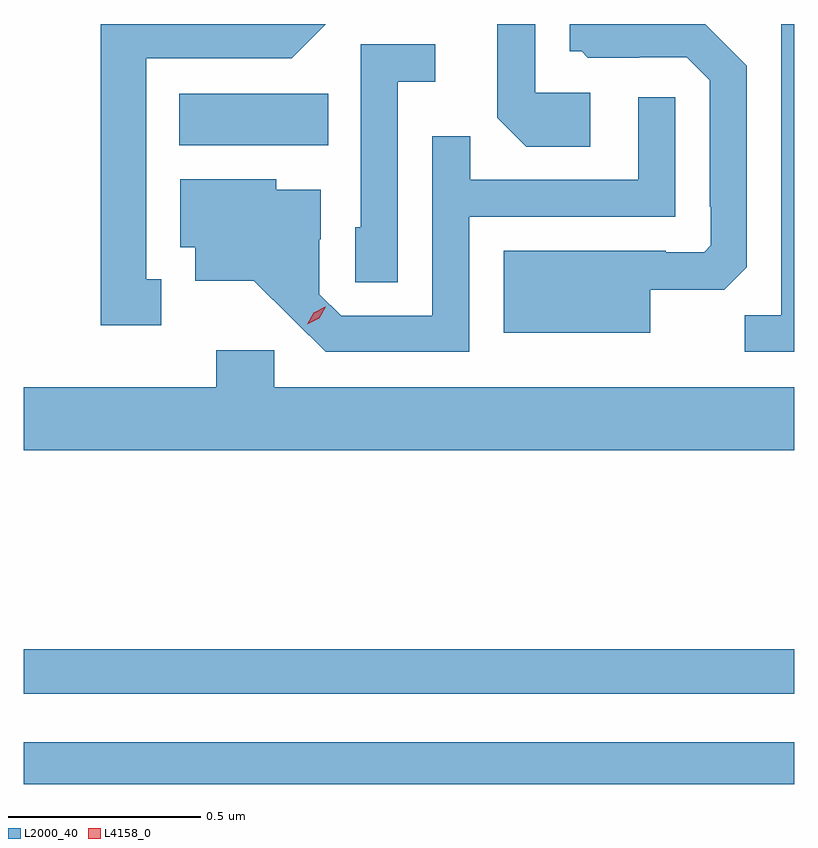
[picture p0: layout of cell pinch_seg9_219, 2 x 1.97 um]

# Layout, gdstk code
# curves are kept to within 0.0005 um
import gdstk
lib = gdstk.Library(unit=1e-6, precision=1e-09)
def R(c, l, rs):  # rectangles x0, y0, x1, y1
    for r in rs: c.add(gdstk.rectangle(r[:2], r[2:], *l))
def P(c, l, *ps):  # polygons
    for p in ps: c.add(gdstk.Polygon(p, *l))
L2000_40 = (2000, 40)
L4158_0 = (4158, 0)

pinch_seg9_219 = lib.new_cell('pinch_seg9_219')
R(pinch_seg9_219, L2000_40, [(587.404,1246.17,589.404,1246.278), (587.404,1246.404,589.404,1246.52), (587.807,1247.828,588.194,1247.962)])
P(pinch_seg9_219, L2000_40, [(589.03,1247.453),(589.222,1247.453),(589.281,1247.512),(589.281,1248.034),(589.173,1248.143),(588.821,1248.143),(588.821,1248.072),(588.852,1248.072),(588.868,1248.056),(589.002,1248.056),(589.002,1248.057),(589.125,1248.057),(589.185,1247.997),(589.185,1247.668),(589.188,1247.668),(589.188,1247.568),(589.17,1247.55),(589.07,1247.55),(589.07,1247.554),(588.65,1247.554),(588.65,1247.342),(589.03,1247.342)],
  [(587.761,1247.481),(587.722,1247.481),(587.722,1248.054),(588.099,1248.054),(588.188,1248.143),(587.604,1248.143),(587.604,1247.361),(587.761,1247.361)],
  [(588.874,1247.964),(588.732,1247.964),(588.732,1248.143),(588.633,1248.143),(588.633,1247.9),(588.709,1247.824),(588.874,1247.824)],
  [(589.404,1248.143),(589.371,1248.143),(589.371,1247.387),(589.276,1247.387),(589.276,1247.292),(589.404,1247.292)],
  [(588.375,1247.993),(588.472,1247.993),(588.472,1248.09),(588.279,1248.09),(588.279,1247.616),(588.264,1247.616),(588.264,1247.473),(588.375,1247.473)],
  [(588.561,1247.643),(589.095,1247.643),(589.095,1247.953),(588.999,1247.953),(588.999,1247.739),(588.563,1247.739),(588.563,1247.852),(588.465,1247.852),(588.465,1247.385),(588.228,1247.385),(588.171,1247.442),(588.171,1247.584),(588.175,1247.584),(588.175,1247.713),(588.06,1247.713),(588.06,1247.74),(587.81,1247.74),(587.81,1247.564),(587.849,1247.564),(587.849,1247.477),(588.001,1247.477),(588.188,1247.292),(588.561,1247.292)],
  [(589.404,1247.2),(588.054,1247.2),(588.054,1247.296),(587.903,1247.296),(587.903,1247.2),(587.404,1247.2),(587.404,1247.036),(589.404,1247.036)])
P(pinch_seg9_219, L4158_0, [(588.14,1247.363),(588.14,1247.364),(588.157,1247.393),(588.187,1247.409),(588.188,1247.409),(588.188,1247.409),(588.171,1247.379),(588.14,1247.363)])

lib.write_gds('pinch_seg9_219.gds')
